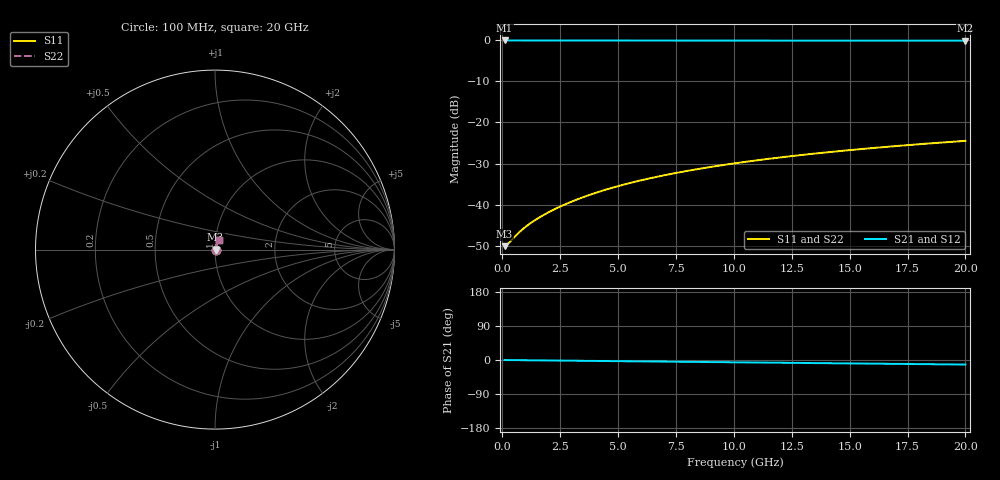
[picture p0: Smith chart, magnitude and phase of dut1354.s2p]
! Touchstone file exported from HFSS 2026.1.0
!  File:  C:/ffzhzh/LocalFiles/Ansys_Project_Files/temp_train_TMRDL_1354_1783165576_55132.aedt
!  Generated:  07:47:24 PM Jul  4, 2026
!  Design:  TMRDL
!  Project:  temp_train_TMRDL_1354_1783165576_55132
! Variables:
!  h_bsmrdl = 2um
!  h_ox = 20um
!  h_rdl = 5um
!  h_sub = 80um
!  h_tmrdl = 2.46um
!  h_tsv = 80um
!  h_via = 3um
!  l_bsmrdl = 300um
!  l_sub = 603.36um
!  l_tmrdl = 203.36um
!  m_sub = 200um
!  pitch = 14.54um
!  r_tsv = 6um
!  s_tmrdl = 10um
!  w_bsmrdl = 18um
!  w_sub = 500um
!  w_tmrdl = 10.19um
!  x_tsv_center1 = 208.455um
!  x_tsv_center2 = 526.455um
!  x_tsv_center3 = 740.005um
!  x_tsv_center4 = 1058.005um
!  x_tsv_center5 = 1271.555um
!  x_tsv_center6 = 1589.555um
# GHz S MA R 50.000000
! Terminal data exported
! Port[1] = TM_RDL1_1_T1
! Port[2] = TM_RDL1_1_T2
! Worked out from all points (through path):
!   200 points, 100 MHz to 20 GHz, reference 50 ohm
!   highest |S21| = -0.03 dB at 100 MHz (marker M1); lowest = -0.1 dB at 20 GHz (marker M2)
!   group delay of S21, straight-line fit = 1.66 ps
!   lowest |S11| = -50.1 dB at 100 MHz (marker M3), VSWR 1.01, Z = 50.3 + j0.0449 ohm
!   |S11| at or under -10 dB: start of sweep to end of sweep
!   |S22| runs from -50.1 to -24.5 dB; largest |S21 - S12| = 1e-14
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0.1  0.003114 8.2  0.9969 -0.1  0.9969 -0.1  0.003114 8.2
! Gamma 0 0 0 0
! Port Impedance 50 0 50 0
0.2  0.003247 15.8  0.9969 -0.1  0.9969 -0.1  0.003247 15.8
0.3  0.003446 22.3  0.9968 -0.2  0.9968 -0.2  0.003446 22.3
0.6  0.004232 35.5  0.9966 -0.4  0.9966 -0.4  0.004232 35.5
0.9  0.005068 43.1  0.9963 -0.6  0.9963 -0.6  0.005068 43.1
1.2  0.005885 48.3  0.9961 -0.8  0.9961 -0.8  0.005885 48.3
1.5  0.006694 52.4  0.996 -1.0  0.996 -1.0  0.006694 52.4
1.9  0.007781 56.7  0.9958 -1.2  0.9958 -1.2  0.007781 56.7
2.4  0.00917 60.7  0.9957 -1.5  0.9957 -1.5  0.00917 60.7
2.9  0.01059 63.7  0.9956 -1.8  0.9956 -1.8  0.01059 63.7
3.5  0.01233 66.3  0.9954 -2.2  0.9954 -2.2  0.01233 66.3
4.2  0.01439 68.5  0.9952 -2.6  0.9952 -2.6  0.01439 68.5
5  0.01677 70.2  0.995 -3.1  0.995 -3.1  0.01677 70.2
5.9  0.01946 71.4  0.9948 -3.6  0.9948 -3.6  0.01946 71.4
6.8  0.02216 72.2  0.9945 -4.2  0.9945 -4.2  0.02216 72.2
8.4  0.02695 72.8  0.994 -5.1  0.994 -5.1  0.02695 72.8
10.1  0.03198 72.8  0.9934 -6.1  0.9934 -6.1  0.03198 72.8
11.7  0.03664 72.5  0.9927 -7.1  0.9927 -7.1  0.03664 72.5
13.4  0.04152 72.0  0.992 -8.1  0.992 -8.1  0.04152 72.0
15  0.04604 71.4  0.9913 -9.1  0.9913 -9.1  0.04604 71.4
16.7  0.05076 70.7  0.9905 -10.1  0.9905 -10.1  0.05076 70.7
20  0.05971 69.2  0.9891 -12.0  0.9891 -12.0  0.05971 69.2
